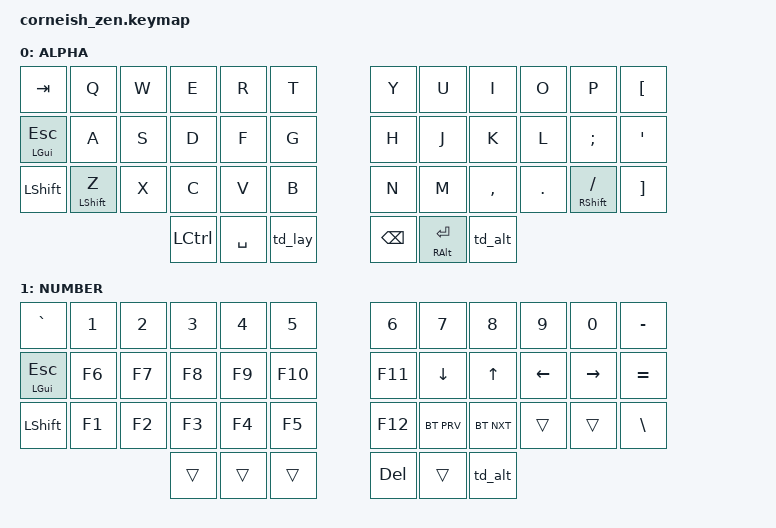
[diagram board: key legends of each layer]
#include <behaviors.dtsi>
#include <dt-bindings/zmk/keys.h>
#include <dt-bindings/zmk/bt.h>

/ {
    chosen {
        zmk,physical-layout = &foostan_corne_6col_layout;
    };
};

/ {
    behaviors {
        td_alt: tap_dance_alt {
                compatible = "zmk,behavior-tap-dance";
                label = "TAP_DANCE_ALT";
                #binding-cells = <0>;
                tapping-term-ms = <200>;
                bindings = <&kp RALT>, <&kp LALT>;
        };

        td_lay: tap_dance_layer_gui {
                compatible = "zmk,behavior-tap-dance";
                #binding-cells = <0>;
                tapping-term-ms = <200>;
                bindings = <&mo 1>, <&kp LGUI>;
        };
    };

    combos {
        compatible = "zmk,combos";

        combo_bt_clear {
                layers = <1>;
                key-positions = <33 34>;
                bindings = <&bt BT_CLR>;
        };

        combo_tab {
                layers = <0>;
                key-positions = <2 3>;
                bindings = <&kp TAB>;
        };

        combo_esc {
                layers = <0>;
                key-positions = <14 15 16>;
                bindings = <&kp ESC>;
        };
    };

    keymap {
        compatible = "zmk,keymap";

        default_layer {
                display-name = "ALPHA ";
// -----------------------------------------------------------------------------------------
// |  TAB |  Q  |  W  |  E  |  R  |  T  |   |  Y  |  U   |  I  |  O  |  P  | [ |
// |ESC/SU|  A  |  S  |  D  |  F  |  G  |   |  H  |  J   |  K  |  L  |  ;  | ' |
// | SHFT |  Z  |  X  |  C  |  V  |  B  |   |  N  |  M   |  ,  |  .  |  /  | ] |
//                    | CTL | SPC |LY/SU|   | BKSP| ENT  | ALT |
                bindings = <
   &kp TAB      &kp Q &kp W &kp E &kp R &kp T     &kp Y &kp U  &kp I     &kp O   &kp P    &kp LBKT
   &mt LGUI ESC &kp A &kp S &kp D &kp F &kp G     &kp H &kp J  &kp K     &kp L   &kp SEMI &kp SQT
   &kp LSHFT &mt LSHFT Z &kp X &kp C &kp V &kp B  &kp N &kp M  &kp COMMA &kp DOT &mt RSHFT FSLH &kp RBKT
             &kp LCTRL &kp SPACE &td_lay      &kp BSPC  &mt RALT RET   &td_alt
                >;
        };
        lower_layer {
                display-name = "NUMBER";
// -----------------------------------------------------------------------------------------
// |   $  |  1  |  2  |  3  |  4  |  5  |   |  6  |  7  |  8  |  9  |  0  |  -  |
// |ESC/SU|  F6 | F7  | F8  | F9  | F10 |   | F11 | DWN |  UP | LFT | RGT |  =  |
// | SHFT |  F1 | F2  | F3  | F4  | F5  |   | F12 |BTDWN| BTUP|BTCLR|BTCLR|  \  |
//                    |     |     |     |   | DEL |     | ALT |
                bindings = <
   &kp GRAVE    &kp N1 &kp N2 &kp N3 &kp N4 &kp N5    &kp N6   &kp N7     &kp N8     &kp N9    &kp N0    &kp MINUS
   &mt LGUI ESC &kp F6 &kp F7 &kp F8 &kp F9 &kp F10   &kp F11  &kp DOWN   &kp UP     &kp LEFT  &kp RIGHT &kp EQUAL
   &kp LSHFT    &kp F1 &kp F2 &kp F3 &kp F4 &kp F5    &kp F12  &bt BT_PRV &bt BT_NXT &trans    &trans    &kp BSLH
                 &trans &trans &trans         &kp DEL  &trans   &td_alt
                >;
        };
    };
};
